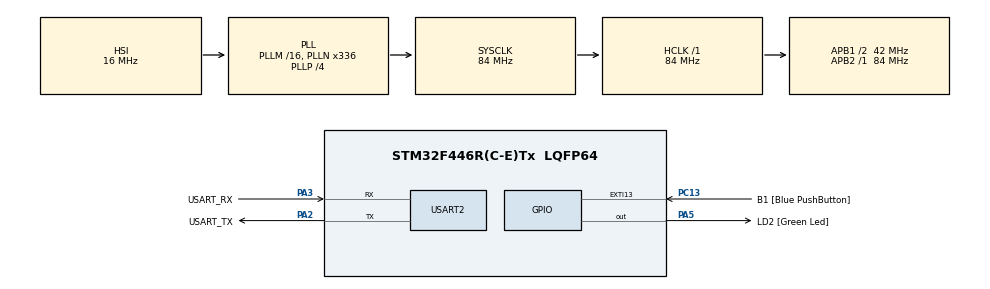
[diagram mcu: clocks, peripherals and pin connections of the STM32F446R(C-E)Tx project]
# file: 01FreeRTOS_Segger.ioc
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FREERTOS.Tasks01=defaultTask,24,128,StartDefaultTask,Default,NULL,Dynamic,NULL,NULL
FREERTOS.configUSE_NEWLIB_REENTRANT=1
Mcu.Family=STM32F4
Mcu.Name=STM32F446R(C-E)Tx
Mcu.Package=LQFP64
NVIC.PriorityGroup=NVIC_PRIORITYGROUP_4
NVIC.TIM6_DAC_IRQn=true\:15\:0\:false\:false\:true\:false\:false\:true\:true
NVIC.TimeBase=TIM6_DAC_IRQn
NVIC.TimeBaseIP=TIM6
NVIC.USART2_IRQn=true\:5\:0\:false\:false\:true\:true\:true\:true\:true
PA13.GPIO_Label=TMS
PA13.Mode=JTAG_5_pins
PA13.Signal=SYS_JTMS-SWDIO
PA14.GPIO_Label=TCK
PA14.Mode=JTAG_5_pins
PA14.Signal=SYS_JTCK-SWCLK
PA15.Mode=JTAG_5_pins
PA15.Signal=SYS_JTDI
PA2.GPIO_Label=USART_TX
PA2.Mode=Asynchronous
PA2.Signal=USART2_TX
PA3.GPIO_Label=USART_RX
PA3.Mode=Asynchronous
PA3.Signal=USART2_RX
PA5.GPIO_Label=LD2 [Green Led]
PA5.Signal=GPIO_Output
PB3.GPIO_Label=SWO
PB3.Mode=JTAG_5_pins
PB3.Signal=SYS_JTDO-SWO
PB4.Mode=JTAG_5_pins
PB4.Signal=SYS_JTRST
PC13.GPIO_Label=B1 [Blue PushButton]
PC13.GPIO_ModeDefaultEXTI=GPIO_MODE_IT_FALLING
PC13.Signal=GPXTI13
PC14-OSC32_IN.Signal=RCC_OSC32_IN
PC15-OSC32_OUT.Signal=RCC_OSC32_OUT
PH0-OSC_IN.Signal=RCC_OSC_IN
PH1-OSC_OUT.Signal=RCC_OSC_OUT
ProjectManager.HeapSize=0x200
ProjectManager.StackSize=0x400
ProjectManager.TargetToolchain=STM32CubeIDE
RCC.AHBFreq_Value=84000000
RCC.APB1CLKDivider=RCC_HCLK_DIV2
RCC.APB1Freq_Value=42000000
RCC.APB1TimFreq_Value=84000000
RCC.APB2Freq_Value=84000000
RCC.APB2TimFreq_Value=84000000
RCC.CortexFreq_Value=84000000
RCC.FLatency-AdvancedSettings=FLASH_LATENCY_2
RCC.HCLKFreq_Value=84000000
RCC.HSE_VALUE=8000000
RCC.HSI_VALUE=16000000
RCC.LSE_VALUE=32768
RCC.PLLN=336
RCC.PLLP=RCC_PLLP_DIV4
RCC.SYSCLKFreq_VALUE=84000000
RCC.SYSCLKSource=RCC_SYSCLKSOURCE_PLLCLK
RCC.USBFreq_Value=168000000
RCC.VCOOutputFreq_Value=336000000
USART2.VirtualMode=VM_ASYNC
VP_FREERTOS_VS_CMSIS_V2.Mode=CMSIS_V2
VP_SYS_VS_tim6.Mode=TIM6
board=NUCLEO-F446RE

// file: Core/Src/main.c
/* USER CODE BEGIN Header */
/**
  ******************************************************************************
  * @file           : main.c
  * @brief          : Main program body
  ******************************************************************************
  * @attention
  *
  * Copyright (c) 2025 STMicroelectronics.
  * All rights reserved.
  *
  * This software is licensed under terms that can be found in the LICENSE file
  * in the root directory of this software component.
  * If no LICENSE file comes with this software, it is provided AS-IS.
  *
  ******************************************************************************
  */
/* USER CODE END Header */
#include "main.h"
#include "cmsis_os.h"
#include <string.h>

UART_HandleTypeDef huart2;

/* Definitions for defaultTask */
osThreadId_t defaultTaskHandle;
const osThreadAttr_t defaultTask_attributes = {
  .name = "defaultTask",
  .stack_size = 128 * 4,
  .priority = (osPriority_t) osPriorityNormal,
};
/* USER CODE BEGIN PV */
xTaskHandle task_handle1;
xTaskHandle task_handle2;
BaseType_t status;

/* USER CODE END PV */

void SystemClock_Config(void);
static void MX_GPIO_Init(void);
static void MX_USART2_UART_Init(void);
void StartDefaultTask(void *argument);
void task1(void *pvParameters);
void task2(void *pvParameters);

int main(void)
{

  /* MCU Configuration--------------------------------------------------------*/

  /* Reset of all peripherals, Initializes the Flash interface and the Systick. */
  HAL_Init();

  /* Configure the system clock */
  SystemClock_Config();

  /* Initialize all configured peripherals */
  MX_GPIO_Init();
  MX_USART2_UART_Init();
  /* USER CODE BEGIN 2 */

  status = xTaskCreate(task1, "MyTask1", 100, NULL, 2, &task_handle1);
  if(status != pdPASS){
		static const char msg[] = "task1 cannot run\r\n";
		HAL_UART_Transmit(&huart2, (uint8_t*)msg, sizeof(msg)-1, 100);
  }

  status = xTaskCreate(task2, "MyTask2", 100, NULL, 2, &task_handle2);
  if(status != pdPASS){
	  static const char msg[] = "task1 cannot run\r\n";
	  HAL_UART_Transmit(&huart2, (uint8_t*)msg, sizeof(msg)-1, 100);
  }

  vTaskStartScheduler();

  /* USER CODE END 2 */

  /* Init scheduler */
  osKernelInitialize();

  /* Create the thread(s) */
  /* creation of defaultTask */
  defaultTaskHandle = osThreadNew(StartDefaultTask, NULL, &defaultTask_attributes);

  /* Start scheduler */
  osKernelStart();

  /* We should never get here as control is now taken by the scheduler */

  /* Infinite loop */
  while (1)
  {

  }
}

void SystemClock_Config(void)
{
  RCC_OscInitTypeDef RCC_OscInitStruct = {0};
  RCC_ClkInitTypeDef RCC_ClkInitStruct = {0};

  /** Configure the main internal regulator output voltage
  */
  __HAL_RCC_PWR_CLK_ENABLE();
  __HAL_PWR_VOLTAGESCALING_CONFIG(PWR_REGULATOR_VOLTAGE_SCALE3);

  /** Initializes the RCC Oscillators according to the specified parameters
  * in the RCC_OscInitTypeDef structure.
  */
  RCC_OscInitStruct.OscillatorType = RCC_OSCILLATORTYPE_HSI;
  RCC_OscInitStruct.HSIState = RCC_HSI_ON;
  RCC_OscInitStruct.HSICalibrationValue = RCC_HSICALIBRATION_DEFAULT;
  RCC_OscInitStruct.PLL.PLLState = RCC_PLL_ON;
  RCC_OscInitStruct.PLL.PLLSource = RCC_PLLSOURCE_HSI;
  RCC_OscInitStruct.PLL.PLLM = 16;
  RCC_OscInitStruct.PLL.PLLN = 336;
  RCC_OscInitStruct.PLL.PLLP = RCC_PLLP_DIV4;
  RCC_OscInitStruct.PLL.PLLQ = 2;
  RCC_OscInitStruct.PLL.PLLR = 2;
  if (HAL_RCC_OscConfig(&RCC_OscInitStruct) != HAL_OK)
  {
    Error_Handler();
  }

  /** Initializes the CPU, AHB and APB buses clocks
  */
  RCC_ClkInitStruct.ClockType = RCC_CLOCKTYPE_HCLK|RCC_CLOCKTYPE_SYSCLK
                              |RCC_CLOCKTYPE_PCLK1|RCC_CLOCKTYPE_PCLK2;
  RCC_ClkInitStruct.SYSCLKSource = RCC_SYSCLKSOURCE_PLLCLK;
  RCC_ClkInitStruct.AHBCLKDivider = RCC_SYSCLK_DIV1;
  RCC_ClkInitStruct.APB1CLKDivider = RCC_HCLK_DIV2;
  RCC_ClkInitStruct.APB2CLKDivider = RCC_HCLK_DIV1;

  if (HAL_RCC_ClockConfig(&RCC_ClkInitStruct, FLASH_LATENCY_2) != HAL_OK)
  {
    Error_Handler();
  }
}

static void MX_USART2_UART_Init(void)
{

  huart2.Instance = USART2;
  huart2.Init.BaudRate = 115200;
  huart2.Init.WordLength = UART_WORDLENGTH_8B;
  huart2.Init.StopBits = UART_STOPBITS_1;
  huart2.Init.Parity = UART_PARITY_NONE;
  huart2.Init.Mode = UART_MODE_TX_RX;
  huart2.Init.HwFlowCtl = UART_HWCONTROL_NONE;
  huart2.Init.OverSampling = UART_OVERSAMPLING_16;
  if (HAL_UART_Init(&huart2) != HAL_OK)
  {
    Error_Handler();
  }

}

static void MX_GPIO_Init(void)
{
  GPIO_InitTypeDef GPIO_InitStruct = {0};

  /* GPIO Ports Clock Enable */
  __HAL_RCC_GPIOC_CLK_ENABLE();
  __HAL_RCC_GPIOH_CLK_ENABLE();
  __HAL_RCC_GPIOA_CLK_ENABLE();
  __HAL_RCC_GPIOB_CLK_ENABLE();

  /*Configure GPIO pin Output Level */
  HAL_GPIO_WritePin(LD2_GPIO_Port, LD2_Pin, GPIO_PIN_RESET);

  /*Configure GPIO pin : B1_Pin */
  GPIO_InitStruct.Pin = B1_Pin;
  GPIO_InitStruct.Mode = GPIO_MODE_IT_FALLING;
  GPIO_InitStruct.Pull = GPIO_NOPULL;
  HAL_GPIO_Init(B1_GPIO_Port, &GPIO_InitStruct);

  /*Configure GPIO pin : LD2_Pin */
  GPIO_InitStruct.Pin = LD2_Pin;
  GPIO_InitStruct.Mode = GPIO_MODE_OUTPUT_PP;
  GPIO_InitStruct.Pull = GPIO_NOPULL;
  GPIO_InitStruct.Speed = GPIO_SPEED_FREQ_LOW;
  HAL_GPIO_Init(LD2_GPIO_Port, &GPIO_InitStruct);

}

/* USER CODE BEGIN 4 */

void task1(void *pvParameters){
	static const char msg[] = "task1 is running \r\n";
	while(1){
		HAL_UART_Transmit(&huart2, (uint8_t*)msg, sizeof(msg)-1, 100);
		vTaskDelay(pdMS_TO_TICKS(1000));
//		taskYIELD();
	}
	vTaskDelete(NULL);
}

void task2(void *pvParameters){
	static const char msg[] = "task 2 is running !!\r\n";
	while(1){
		HAL_UART_Transmit(&huart2, (uint8_t*)msg, sizeof(msg)-1, 100);
		vTaskDelay(pdMS_TO_TICKS(1000));
//		taskYIELD();
	}
	vTaskDelete(NULL);
}

/* USER CODE END 4 */

void StartDefaultTask(void *argument)
{
  for(;;)
  {
    osDelay(1);
  }
}

void HAL_TIM_PeriodElapsedCallback(TIM_HandleTypeDef *htim)
{
  if (htim->Instance == TIM6)
  {
    HAL_IncTick();
  }
}

void Error_Handler(void)
{
  __disable_irq();
  while (1)
  {
  }
}
